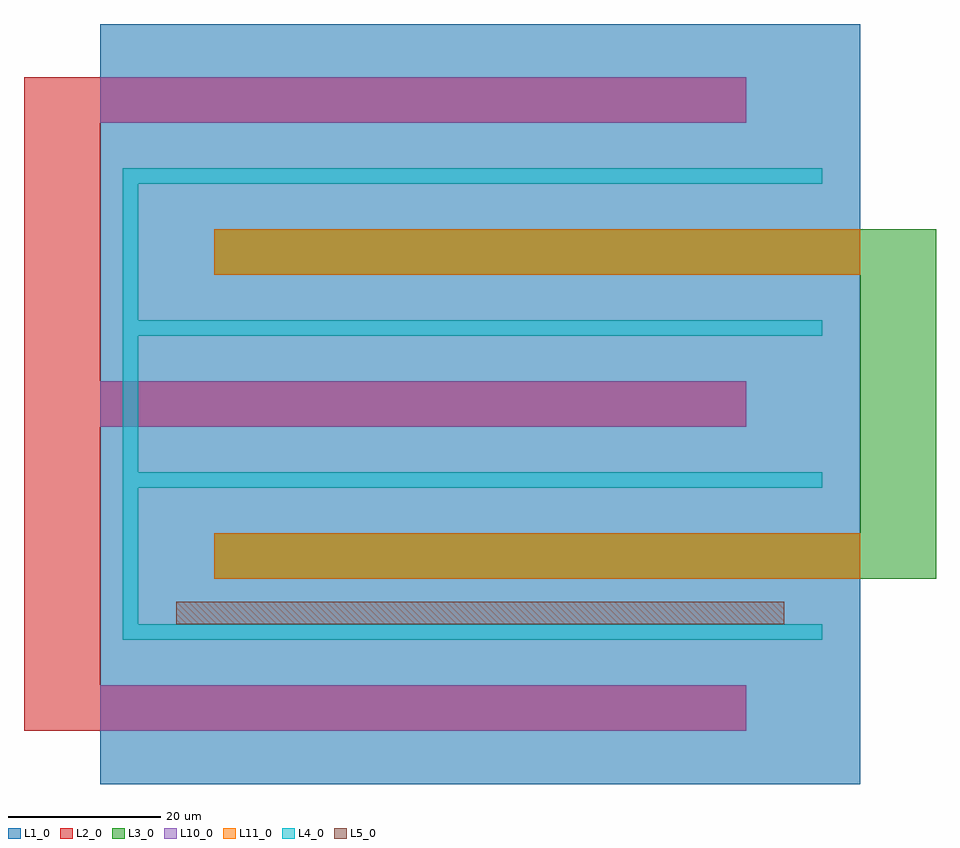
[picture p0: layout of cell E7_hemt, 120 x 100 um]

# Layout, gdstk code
import gdstk
lib = gdstk.Library(unit=1e-6, precision=1e-09)
def R(c, l, rs):  # rectangles x0, y0, x1, y1
    for r in rs: c.add(gdstk.rectangle(r[:2], r[2:], *l))
def A(c, l, x, y, w, h, nx, ny, dx, dy):  # array of equal rectangles
    R(c, l, [(x+i*dx, y+j*dy, x+i*dx+w, y+j*dy+h) for i in range(nx) for j in range(ny)])
L1_0 = (1, 0)
L2_0 = (2, 0)
L3_0 = (3, 0)
L4_0 = (4, 0)
L5_0 = (5, 0)
L10_0 = (10, 0)
L11_0 = (11, 0)

e7_hemt = lib.new_cell('E7_hemt')
R(e7_hemt, L1_0, [(0,0,100,100)])
A(e7_hemt, L2_0, -10, 7, 95, 6, 1, 3, 0, 40)
R(e7_hemt, L2_0, [(-10,7,0,93)])
R(e7_hemt, L3_0, [(15,27,110,33), (100,27,110,73), (15,67,110,73)])
A(e7_hemt, L4_0, 5, 19, 90, 2, 1, 4, 0, 20)
R(e7_hemt, L4_0, [(3,19,5,81)])
R(e7_hemt, L5_0, [(10,21,90,24)])
A(e7_hemt, L10_0, 0, 7, 85, 6, 1, 3, 0, 40)
R(e7_hemt, L11_0, [(15,27,100,33), (15,67,100,73)])

lib.write_gds('E7_hemt.gds')
